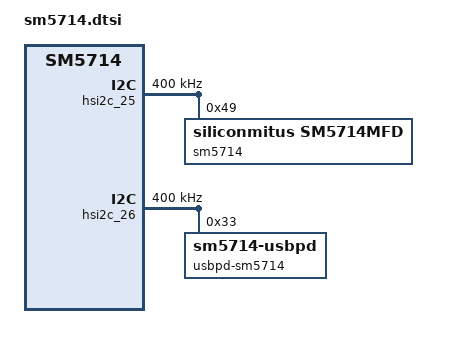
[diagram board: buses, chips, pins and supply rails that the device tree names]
&pinctrl_0 {
	if_pmic_irq: if_pmic_irq {
		GPIO_CONFIG_PUD_DRV(AP,gpa0,gpa0,1, FUNC_INPUT, PULL_NONE, DRV_LV1);
	};
};

&pinctrl_0 {
	usbpd_irq: usbpd_irq {
		GPIO_CONFIG_PUD_DRV(AP,gpa0,gpa0,5, FUNC_INPUT_WAKEUP, PULL_NONE, DRV_LV4);
	};
};

#if 0
&${usbpd_vbus_discharging_parent} {
        usbpd_vbus_discharging: usbpd_vbus_discharging {
                GPIO_CONFIG_PUD_DRV(${usbpd_vbus_discharging_gpio}, FUNC_OUTPUT_LOW, PULL_NONE, DRV_LV1);
				samsung,pin-con-pdn = <3>;
				samsung,pin-pud-pdn = <0>;
        };
};
#endif

#if 0
&${usbpd_otg_det_parent} {
	usbpd_otg_det: usbpd_otg_det {
		GPIO_CONFIG_PUD_DRV(${usbpd_otg_det_gpio}, FUNC_OUTPUT_LOW, PULL_NONE, DRV_LV1);
        samsung,pin-con-pdn = <3>;
        samsung,pin-pud-pdn = <0>;
	};
};
#endif

&hsi2c_25 {
	#address-cells = <1>;
	#size-cells = <0>;
	status = "okay";
	clock-frequency = <400000>;
	samsung,i2c-max-bus-freq = <400000>;

	sm5714@49{
		status = "okay";
		compatible = "siliconmitus,sm5714mfd";
		reg = <0x49>;
		pinctrl-names = "default";
		pinctrl-0 = <&if_pmic_irq>;
		sm5714,irq-gpio = <SEC_GPIO_REF(AP,gpa0,gpa0,1) 0>;
		sm5714,wakeup;
	};
};

&hsi2c_26 {
	i2c-gpio,delay-us = <5>;
	#address-cells = <1>;
	#size-cells = <0>;
	status = "okay";
	clock-frequency = <400000>;
	samsung,i2c-max-bus-freq = <400000>;

	usbpd-sm5714@33 {
		status = "okay";
		compatible = "sm5714-usbpd";
		reg = <0x33>;
		pinctrl-names = "default";
		pinctrl-0 = <&usbpd_irq
#if 0
				&usbpd_vbus_discharging
#endif
#if 0
				&usbpd_otg_det
#endif
		>;
		usbpd,usbpd_int = <SEC_GPIO_REF(AP,gpa0,gpa0,5) 0>;
#if 0
		usbpd,vbus_discharging = <SEC_GPIO_REF(${usbpd_vbus_discharging_gpio}) 0>;
#endif
#if 0
		usbpd,otg_det = <SEC_GPIO_REF(${usbpd_otg_det_gpio}) 0>;
#endif
#if 0
		vconn-en;
#endif
		support_pd_role_swap;
		pdic-manager {
			/* sink */
			pdic,max_power = <5000>;
			pdic_op_power = <2500>;
			pdic_max_voltage = <6000>;
			pdic_max_current = <2000>;
			pdic,min_current = <500>;

			pdic,giveback = <0>;
			pdic,usb_com_capable = <1>;
			pdic,no_usb_suspend = <1>;

			/* source */
			source,max_voltage = <5000>;
			source,min_voltage = <4000>;
			source,max_power = <2500>;
		};
	};
};

